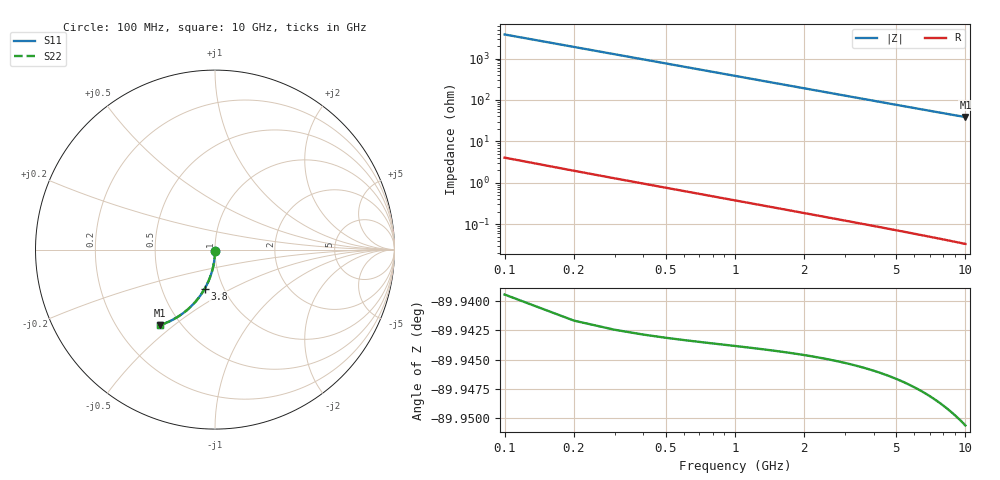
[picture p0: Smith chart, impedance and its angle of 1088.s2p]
# Hz S RI R 50.00
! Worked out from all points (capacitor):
!   100 points, 100 MHz to 10 GHz, reference 50 ohm
!   read as one part in shunt: C = 417 fF near 100 MHz
!   lowest |Z| = 38.5 ohm at 10 GHz (marker M1)
!   S11 on the Smith chart (normalised r, x): 100 MHz: 1.00, -0.01; 3.8 GHz: 0.81, -0.38; 10 GHz: 0.39, -0.45
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1e8  0.000151 -0.00615  0.9997 -0.00695  0.9997 -0.00695  0.000151 -0.00615
2e8  1.78e-05 -0.0123  0.9996 -0.0139  0.9996 -0.0139  1.78e-05 -0.0123
3e8  -0.000201 -0.0184  0.9994 -0.0208  0.9994 -0.0208  -0.000201 -0.0184
4e8  -0.000505 -0.0246  0.9991 -0.0278  0.9991 -0.0278  -0.000505 -0.0246
5e8  -0.000895 -0.0307  0.9987 -0.0347  0.9987 -0.0347  -0.000895 -0.0307
6e8  -0.00137 -0.0368  0.9982 -0.0416  0.9982 -0.0416  -0.00137 -0.0368
7e8  -0.00193 -0.0429  0.9976 -0.0485  0.9976 -0.0485  -0.00193 -0.0429
8e8  -0.00257 -0.0491  0.997 -0.0554  0.997 -0.0554  -0.00257 -0.0491
9e8  -0.0033 -0.0551  0.9963 -0.0623  0.9963 -0.0623  -0.0033 -0.0551
1.1e9  -0.00501 -0.0673  0.9945 -0.0761  0.9945 -0.0761  -0.00501 -0.0673
1.4e9  -0.00819 -0.0854  0.9913 -0.0966  0.9913 -0.0966  -0.00819 -0.0854
1.8e9  -0.0136 -0.1091  0.9859 -0.1235  0.9859 -0.1235  -0.0136 -0.1091
2.1e9  -0.0185 -0.1267  0.981 -0.1435  0.981 -0.1435  -0.0185 -0.1267
2.5e9  -0.026 -0.1496  0.9733 -0.1697  0.9733 -0.1697  -0.026 -0.1496
2.9e9  -0.0348 -0.172  0.9645 -0.1952  0.9645 -0.1952  -0.0348 -0.172
3.4e9  -0.0473 -0.199  0.9519 -0.2262  0.9519 -0.2262  -0.0473 -0.199
3.8e9  -0.0585 -0.2197  0.9406 -0.2502  0.9406 -0.2502  -0.0585 -0.2197
4.4e9  -0.077 -0.2492  0.922 -0.2846  0.922 -0.2846  -0.077 -0.2492
5.1e9  -0.101 -0.2812  0.8977 -0.3221  0.8977 -0.3221  -0.101 -0.2812
6.7e9  -0.1632 -0.3429  0.8349 -0.3969  0.8349 -0.3969  -0.1632 -0.3429
8.4e9  -0.2358 -0.3909  0.7614 -0.4588  0.7614 -0.4588  -0.2358 -0.3909
1e10  -0.3057 -0.4204  0.6905 -0.5016  0.6905 -0.5016  -0.3057 -0.4204
